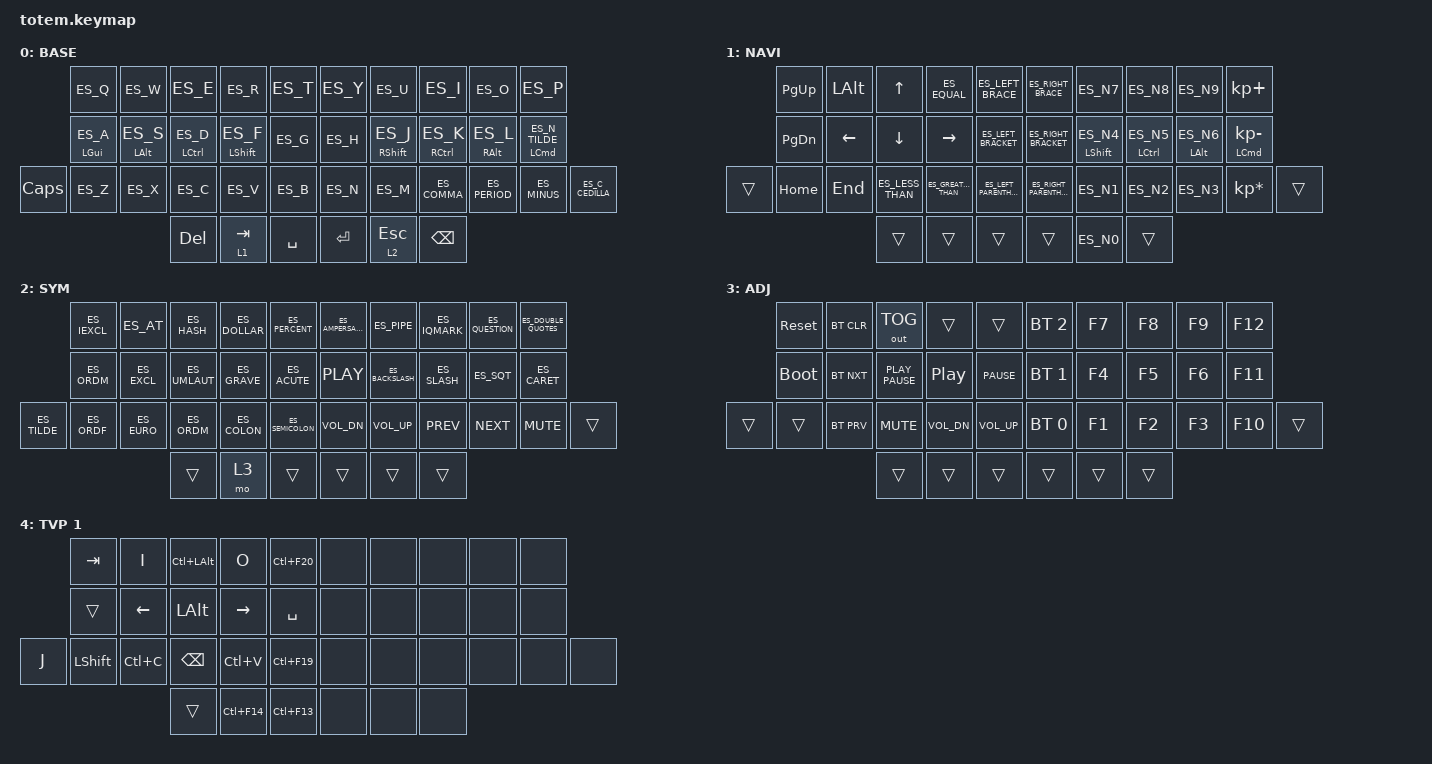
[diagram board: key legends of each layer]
//
//                                                        ▀▀▀▀▀     ▀▀▀▀▀          ▀▀█▀▀
//                                                        ▄▀▀▀▄  ▄  ▄▀▀▀▄  ▄  ▄▀▀▀▄  █  ▄▀▀▀▄
//                                                        █   █  █  █   █  █  █   █  █  █   █
//                                                         ▀▀▀   █   ▀▀▀   █   ▀▀▀   ▀   ▀▀▀
//                                                               █      ▄▄▄█▄▄▄    █   █  
//                                                               ▀      █  █  █     █▄█
//                                                             ▀▀▀▀▀    █  █  █      ▀
//                                                                      ▀  ▀  ▀
//
// ▄▄▄▄▄▄▄▄▄▄▄▄▄▄▄▄▄▄▄▄▄▄▄▄▄▄▄▄▄▄▄▄▄▄▄▄▄▄▄▄▄▄▄▄▄▄▄▄▄▄▄▄▄▄▄▄▄▄▄▄▄▄▄▄▄▄▄▄▄▄▄▄▄▄▄▄▄▄▄▄▄▄▄▄▄▄▄▄▄▄▄▄▄▄▄▄▄▄▄▄▄▄▄▄▄▄▄▄▄▄▄▄▄▄▄▄▄▄▄▄▄▄▄▄▄▄▄▄▄▄▄▄▄▄▄▄▄▄▄▄▄▄▄▄▄▄▄▄▄

#include "keys_es.h"
#include <behaviors.dtsi>
#include <dt-bindings/zmk/bt.h>
#include <dt-bindings/zmk/keys.h>
#include <dt-bindings/zmk/outputs.h>

#define BASE 0
#define NAV  1
#define SYM  2
#define ADJ  3
#define TVP1 4
#define TVP2 5

&mt {
    quick-tap-ms = <100>;
    global-quick-tap;
    flavor = "tap-preferred";
    tapping-term-ms = <170>;
};

/ {
    combos {
        compatible = "zmk,combos";

        combo_esc {
            timeout-ms = <50>;
            key-positions = <0 1>;
            bindings = <&kp ESC>;
        };

        workspace_2 {
            bindings = <&change_workspace>;
            key-positions = <3 4>;
        };
    };

    macros {
        change_workspace: change_workspace {
            compatible = "zmk,behavior-macro";
            #binding-cells = <0>;
            bindings = <&macro_tap>, <&kp LEFT_GUI &kp KP_N2>;

            label = "CHANGE_WORKSPACE";
        };
    };

    keymap {
        compatible = "zmk,keymap";

        // ▄▄▄▄▄▄▄▄▄▄▄▄▄▄▄▄▄▄▄▄▄▄▄▄▄▄▄▄▄▄▄▄▄▄▄▄▄▄▄▄▄▄▄▄▄▄▄▄▄▄▄▄▄▄▄▄▄▄▄▄▄▄▄▄▄▄▄▄▄▄▄▄▄▄▄▄▄▄▄▄▄▄▄▄▄▄▄▄▄▄▄▄▄▄▄▄▄▄▄▄▄▄▄▄▄▄▄▄▄▄▄▄▄▄▄▄▄▄▄▄▄▄▄▄▄▄▄▄▄▄▄▄▄▄▄▄▄▄▄▄▄▄▄▄▄▄▄▄▄

        base_layer {
            // ┏━━━━━━━━━━━━━━━━━━━━━━━━━━━━━━━━━━━━━━━┓

            label = "BASE";

            // ┗━━━━━━━━━━━━━━━━━━━━━━━━━━━━━━━━━━━━━━━┛
            //             ┏━━━━━━━━━━━┳━━━━━━━━━━━┳━━━━━━━━━━━┳━━━━━━━━━━━┳━━━━━━━━━━━┓   ┏━━━━━━━━━━━┳━━━━━━━━━━━┳━━━━━━━━━━━┳━━━━━━━━━━━┳━━━━━━━━━━━┓
            //             ┃     Q     ┃     W     ┃     F     ┃     P     ┃     G     ┃   ┃     J     ┃     L     ┃     U     ┃     Y     ┃     ;     ┃
            //             ┣━━━━━━━━━━━╋━━━━━━━━━━━╋━━━━━━━━━━━╋━━━━━━━━━━━╋━━━━━━━━━━━┫   ┣━━━━━━━━━━━╋━━━━━━━━━━━╋━━━━━━━━━━━╋━━━━━━━━━━━╋━━━━━━━━━━━┫
            //             ┃     A     ┃     R     ┃     S     ┃     T     ┃     D     ┃   ┃     H     ┃     N     ┃     E     ┃     I     ┃     O     ┃
            // ┏━━━━━━━━━━━╋━━━━━━━━━━━╋━━━━━━━━━━━╋━━━━━━━━━━━╋━━━━━━━━━━━╋━━━━━━━━━━━┫   ┣━━━━━━━━━━━╋━━━━━━━━━━━╋━━━━━━━━━━━╋━━━━━━━━━━━╋━━━━━━━━━━━╋━━━━━━━━━━━┓
            // ┃     Q     ┃     Z     ┃     X     ┃     C     ┃     V     ┃     B     ┃   ┃     K     ┃     M     ┃     ,     ┃     .     ┃     /     ┃     \     ┃
            // ┗━━━━━━━━━━━┻━━━━━━━━━━━┻━━━━━━━━━━━╋━━━━━━━━━━━╋━━━━━━━━━━━╋━━━━━━━━━━━┫   ┣━━━━━━━━━━━╋━━━━━━━━━━━╋━━━━━━━━━━━╋━━━━━━━━━━━┻━━━━━━━━━━━┻━━━━━━━━━━━┛
            //                                     ┃    DEL    ┃    TAB    ┃    SPC    ┃   ┃   ENTER   ┃           ┃   BSPC    ┃
            //                                     ┗━━━━━━━━━━━┻━━━━━━━━━━━┻━━━━━━━━━━━┛   ┗━━━━━━━━━━━┻━━━━━━━━━━━┻━━━━━━━━━━━┛

            bindings = <
              &kp ES_Q       &kp ES_W       &kp ES_E        &kp ES_R        &kp ES_T     &kp ES_Y  &kp ES_U        &kp ES_I        &kp ES_O       &kp ES_P
              &mt LGUI ES_A  &mt LALT ES_S  &mt LCTRL ES_D  &mt LSHFT ES_F  &kp ES_G     &kp ES_H  &mt RSHFT ES_J  &mt RCTRL ES_K  &mt RALT ES_L  &mt LCMD ES_N_TILDE
&kp CAPSLOCK  &kp ES_Z       &kp ES_X       &kp ES_C        &kp ES_V        &kp ES_B     &kp ES_N  &kp ES_M        &kp ES_COMMA    &kp ES_PERIOD  &kp ES_MINUS         &kp ES_C_CEDILLA
                                            &kp DEL         &lt 1 TAB       &kp SPACE    &kp RET   &lt 2 ESC       &kp BSPC
            >;
        };

        // ▄▄▄▄▄▄▄▄▄▄▄▄▄▄▄▄▄▄▄▄▄▄▄▄▄▄▄▄▄▄▄▄▄▄▄▄▄▄▄▄▄▄▄▄▄▄▄▄▄▄▄▄▄▄▄▄▄▄▄▄▄▄▄▄▄▄▄▄▄▄▄▄▄▄▄▄▄▄▄▄▄▄▄▄▄▄▄▄▄▄▄▄▄▄▄▄▄▄▄▄▄▄▄▄▄▄▄▄▄▄▄▄▄▄▄▄▄▄▄▄▄▄▄▄▄▄▄▄▄▄▄▄▄▄▄▄▄▄▄▄▄▄▄▄▄▄▄▄▄

        nav_layer {
            // ┏━━━━━━━━━━━━━━━━━━━━━━━━━━━━━━━━━━━━━━━┓

            label = "NAVI";

            // ┗━━━━━━━━━━━━━━━━━━━━━━━━━━━━━━━━━━━━━━━┛
            //             ┏━━━━━━━━━━━┳━━━━━━━━━━━┳━━━━━━━━━━━┳━━━━━━━━━━━┳━━━━━━━━━━━┓   ┏━━━━━━━━━━━┳━━━━━━━━━━━┳━━━━━━━━━━━┳━━━━━━━━━━━┳━━━━━━━━━━━┓
            //             ┃           ┃           ┃     UP    ┃           ┃     {     ┃   ┃     }     ┃     7     ┃     8     ┃     9     ┃     +     ┃
            //             ┣━━━━━━━━━━━╋━━━━━━━━━━━╋━━━━━━━━━━━╋━━━━━━━━━━━╋━━━━━━━━━━━┫   ┣━━━━━━━━━━━╋━━━━━━━━━━━╋━━━━━━━━━━━╋━━━━━━━━━━━╋━━━━━━━━━━━┫
            //             ┃   SHIFT   ┃   LEFT    ┃    DOWN   ┃   RIGHT   ┃     [     ┃   ┃     ]     ┃     4     ┃     5     ┃     6     ┃     -     ┃
            // ┏━━━━━━━━━━━╋━━━━━━━━━━━╋━━━━━━━━━━━╋━━━━━━━━━━━╋━━━━━━━━━━━╋━━━━━━━━━━━┫   ┣━━━━━━━━━━━╋━━━━━━━━━━━╋━━━━━━━━━━━╋━━━━━━━━━━━╋━━━━━━━━━━━╋━━━━━━━━━━━┓
            // ┃           ┃           ┃   P UP    ┃  C LOCK   ┃  P DOWN   ┃     (     ┃   ┃     )     ┃     1     ┃     2     ┃     3     ┃     *     ┃           ┃
            // ┗━━━━━━━━━━━┻━━━━━━━━━━━┻━━━━━━━━━━━╋━━━━━━━━━━━╋━━━━━━━━━━━╋━━━━━━━━━━━┫   ┣━━━━━━━━━━━╋━━━━━━━━━━━╋━━━━━━━━━━━╋━━━━━━━━━━━┻━━━━━━━━━━━┻━━━━━━━━━━━┛
            //                                     ┃           ┃    TAB    ┃    SPC    ┃   ┃    DEL    ┃     0     ┃           ┃
            //                                     ┗━━━━━━━━━━━┻━━━━━━━━━━━┻━━━━━━━━━━━┛   ┗━━━━━━━━━━━┻━━━━━━━━━━━┻━━━━━━━━━━━┛

            bindings = <
        &kp PG_UP  &kp LALT  &kp UP            &kp ES_EQUAL         &kp ES_LEFT_BRACE          &kp ES_RIGHT_BRACE        &kp ES_N7        &kp ES_N8        &kp ES_N9       &kp KP_PLUS
        &kp PG_DN  &kp LEFT  &kp DOWN          &kp RIGHT            &kp ES_LEFT_BRACKET        &kp ES_RIGHT_BRACKET      &mt LSHFT ES_N4  &mt LCTRL ES_N5  &mt LALT ES_N6  &mt LCMD KP_MINUS
&trans  &kp HOME   &kp END   &kp ES_LESS_THAN  &kp ES_GREATER_THAN  &kp ES_LEFT_PARENTHESIS    &kp ES_RIGHT_PARENTHESIS  &kp ES_N1        &kp ES_N2        &kp ES_N3       &kp KP_MULTIPLY    &trans
                             &trans            &trans               &trans                     &trans                    &kp ES_N0        &trans
            >;
        };

        // ▄▄▄▄▄▄▄▄▄▄▄▄▄▄▄▄▄▄▄▄▄▄▄▄▄▄▄▄▄▄▄▄▄▄▄▄▄▄▄▄▄▄▄▄▄▄▄▄▄▄▄▄▄▄▄▄▄▄▄▄▄▄▄▄▄▄▄▄▄▄▄▄▄▄▄▄▄▄▄▄▄▄▄▄▄▄▄▄▄▄▄▄▄▄▄▄▄▄▄▄▄▄▄▄▄▄▄▄▄▄▄▄▄▄▄▄▄▄▄▄▄▄▄▄▄▄▄▄▄▄▄▄▄▄▄▄▄▄▄▄▄▄▄▄▄▄▄▄▄

        sim_layer {
            // ┏━━━━━━━━━━━━━━━━━━━━━━━━━━━━━━━━━━━━━━━┓

            label = "SYM";

            // ┗━━━━━━━━━━━━━━━━━━━━━━━━━━━━━━━━━━━━━━━┛
            //             ┏━━━━━━━━━━━┳━━━━━━━━━━━┳━━━━━━━━━━━┳━━━━━━━━━━━┳━━━━━━━━━━━┓   ┏━━━━━━━━━━━┳━━━━━━━━━━━┳━━━━━━━━━━━┳━━━━━━━━━━━┳━━━━━━━━━━━┓
            //             ┃     !     ┃     @     ┃     #     ┃     $     ┃     %     ┃   ┃     ˆ     ┃     &     ┃     Ü     ┃     '     ┃     "     ┃
            //             ┣━━━━━━━━━━━╋━━━━━━━━━━━╋━━━━━━━━━━━╋━━━━━━━━━━━╋━━━━━━━━━━━┫   ┣━━━━━━━━━━━╋━━━━━━━━━━━╋━━━━━━━━━━━╋━━━━━━━━━━━╋━━━━━━━━━━━┫
            //             ┃     Ä     ┃           ┃    SZ     ┃           ┃           ┃   ┃   MUTE    ┃   YEN     ┃   EURO    ┃  POUND    ┃     Ö     ┃
            // ┏━━━━━━━━━━━╋━━━━━━━━━━━╋━━━━━━━━━━━╋━━━━━━━━━━━╋━━━━━━━━━━━╋━━━━━━━━━━━┫   ┣━━━━━━━━━━━╋━━━━━━━━━━━╋━━━━━━━━━━━╋━━━━━━━━━━━╋━━━━━━━━━━━╋━━━━━━━━━━━┓
            // ┃           ┃  EMAIL1   ┃  EMAIL2   ┃           ┃           ┃           ┃   ┃   VOL-    ┃   VOL+    ┃   LAST    ┃   NEXT    ┃     \     ┃           ┃
            // ┗━━━━━━━━━━━┻━━━━━━━━━━━┻━━━━━━━━━━━╋━━━━━━━━━━━╋━━━━━━━━━━━╋━━━━━━━━━━━┫   ┣━━━━━━━━━━━╋━━━━━━━━━━━╋━━━━━━━━━━━╋━━━━━━━━━━━┻━━━━━━━━━━━┻━━━━━━━━━━━┛
            //                                     ┃           ┃    GIF    ┃    ADJ    ┃   ┃           ┃           ┃           ┃
            //                                     ┗━━━━━━━━━━━┻━━━━━━━━━━━┻━━━━━━━━━━━┛   ┗━━━━━━━━━━━┻━━━━━━━━━━━┻━━━━━━━━━━━┛

            bindings = <
              &kp ES_IEXCL  &kp ES_AT    &kp ES_HASH    &kp ES_DOLLAR  &kp ES_PERCENT      &kp ES_AMPERSAND  &kp ES_PIPE       &kp ES_IQMARK  &kp ES_QUESTION  &kp ES_DOUBLE_QUOTES
              &kp ES_ORDM   &kp ES_EXCL  &kp ES_UMLAUT  &kp ES_GRAVE   &kp ES_ACUTE        &kp C_PLAY        &kp ES_BACKSLASH  &kp ES_SLASH   &kp ES_SQT       &kp ES_CARET
&kp ES_TILDE  &kp ES_ORDF   &kp ES_EURO  &kp ES_ORDM    &kp ES_COLON   &kp ES_SEMICOLON    &kp C_VOL_DN      &kp C_VOL_UP      &kp C_PREV     &kp C_NEXT       &kp C_MUTE            &trans
                                         &trans         &mo 3          &trans              &trans            &trans            &trans
            >;
        };

        // ▄▄▄▄▄▄▄▄▄▄▄▄▄▄▄▄▄▄▄▄▄▄▄▄▄▄▄▄▄▄▄▄▄▄▄▄▄▄▄▄▄▄▄▄▄▄▄▄▄▄▄▄▄▄▄▄▄▄▄▄▄▄▄▄▄▄▄▄▄▄▄▄▄▄▄▄▄▄▄▄▄▄▄▄▄▄▄▄▄▄▄▄▄▄▄▄▄▄▄▄▄▄▄▄▄▄▄▄▄▄▄▄▄▄▄▄▄▄▄▄▄▄▄▄▄▄▄▄▄▄▄▄▄▄▄▄▄▄▄▄▄▄▄▄▄▄▄▄▄

        adjust_layer {
            // ┏━━━━━━━━━━━━━━━━━━━━━━━━━━━━━━━━━━━━━━━┓

            label = "ADJ";

            // ┗━━━━━━━━━━━━━━━━━━━━━━━━━━━━━━━━━━━━━━━┛
            //             ┏━━━━━━━━━━━┳━━━━━━━━━━━┳━━━━━━━━━━━┳━━━━━━━━━━━┳━━━━━━━━━━━┓   ┏━━━━━━━━━━━┳━━━━━━━━━━━┳━━━━━━━━━━━┳━━━━━━━━━━━┳━━━━━━━━━━━┓
            //             ┃   RESET   ┃ BT CLEAR  ┃  OUT TOG  ┃           ┃           ┃   ┃           ┃    F7     ┃    F8     ┃    F9     ┃    F12    ┃
            //             ┣━━━━━━━━━━━╋━━━━━━━━━━━╋━━━━━━━━━━━╋━━━━━━━━━━━╋━━━━━━━━━━━┫   ┣━━━━━━━━━━━╋━━━━━━━━━━━╋━━━━━━━━━━━╋━━━━━━━━━━━╋━━━━━━━━━━━┫
            //             ┃ BOOTLOAD  ┃ BT NEXT   ┃           ┃           ┃           ┃   ┃           ┃    F4     ┃    F5     ┃    F6     ┃    F11    ┃
            // ┏━━━━━━━━━━━╋━━━━━━━━━━━╋━━━━━━━━━━━╋━━━━━━━━━━━╋━━━━━━━━━━━╋━━━━━━━━━━━┫   ┣━━━━━━━━━━━╋━━━━━━━━━━━╋━━━━━━━━━━━╋━━━━━━━━━━━╋━━━━━━━━━━━╋━━━━━━━━━━━┓
            // ┃           ┃           ┃ BT PREV   ┃           ┃           ┃           ┃   ┃           ┃    F1     ┃    F2     ┃    F3     ┃    F10    ┃           ┃
            // ┗━━━━━━━━━━━┻━━━━━━━━━━━┻━━━━━━━━━━━╋━━━━━━━━━━━╋━━━━━━━━━━━╋━━━━━━━━━━━┫   ┣━━━━━━━━━━━╋━━━━━━━━━━━╋━━━━━━━━━━━╋━━━━━━━━━━━┻━━━━━━━━━━━┻━━━━━━━━━━━┛
            //                                     ┃           ┃           ┃           ┃   ┃           ┃           ┃           ┃
            //                                     ┗━━━━━━━━━━━┻━━━━━━━━━━━┻━━━━━━━━━━━┛   ┗━━━━━━━━━━━┻━━━━━━━━━━━┻━━━━━━━━━━━┛

            bindings = <
        &sys_reset   &bt BT_CLR  &out OUT_TOG      &trans            &trans          &bt BT_SEL 2  &kp F7  &kp F8  &kp F9  &kp F12
        &bootloader  &bt BT_NXT  &kp K_PLAY_PAUSE  &kp C_PLAY_PAUSE  &kp C_PAUSE     &bt BT_SEL 1  &kp F4  &kp F5  &kp F6  &kp F11
&trans  &trans       &bt BT_PRV  &kp C_MUTE        &kp C_VOL_DN      &kp C_VOL_UP    &bt BT_SEL 0  &kp F1  &kp F2  &kp F3  &kp F10  &trans
                                 &trans            &trans            &trans          &trans        &trans  &trans
            >;
        };

        // ▄▄▄▄▄▄▄▄▄▄▄▄▄▄▄▄▄▄▄▄▄▄▄▄▄▄▄▄▄▄▄▄▄▄▄▄▄▄▄▄▄▄▄▄▄▄▄▄▄▄▄▄▄▄▄▄▄▄▄▄▄▄▄▄▄▄▄▄▄▄▄▄▄▄▄▄▄▄▄▄▄▄▄▄▄▄▄▄▄▄▄▄▄▄▄▄▄▄▄▄▄▄▄▄▄▄▄▄▄▄▄▄▄▄▄▄▄▄▄▄▄▄▄▄▄▄▄▄▄▄▄▄▄▄▄▄▄▄▄▄▄▄▄▄▄▄▄▄▄

        tvp1_layer {
            // ┏━━━━━━━━━━━━━━━━━━━━━━━━━━━━━━━━━━━━━━━┓

            label = "TVP 1";

            // ┗━━━━━━━━━━━━━━━━━━━━━━━━━━━━━━━━━━━━━━━┛
            //             ┏━━━━━━━━━━━┳━━━━━━━━━━━┳━━━━━━━━━━━┳━━━━━━━━━━━┳━━━━━━━━━━━┓   ┏━━━━━━━━━━━┳━━━━━━━━━━━┳━━━━━━━━━━━┳━━━━━━━━━━━┳━━━━━━━━━━━┓
            //             ┃ NEXT FILE ┃ MARK IN   ┃ ROTATE    ┃ MARK OUT  ┃ SHOW SNAP ┃   ┃           ┃           ┃           ┃           ┃           ┃
            //             ┣━━━━━━━━━━━╋━━━━━━━━━━━╋━━━━━━━━━━━╋━━━━━━━━━━━╋━━━━━━━━━━━┫   ┣━━━━━━━━━━━╋━━━━━━━━━━━╋━━━━━━━━━━━╋━━━━━━━━━━━╋━━━━━━━━━━━┫
            //             ┃ TVP II    ┃ LEFT      ┃ PAN       ┃ RIGHT     ┃ PLAY/FLIP ┃   ┃           ┃           ┃           ┃           ┃           ┃
            // ┏━━━━━━━━━━━╋━━━━━━━━━━━╋━━━━━━━━━━━╋━━━━━━━━━━━╋━━━━━━━━━━━╋━━━━━━━━━━━┫   ┣━━━━━━━━━━━╋━━━━━━━━━━━╋━━━━━━━━━━━╋━━━━━━━━━━━╋━━━━━━━━━━━╋━━━━━━━━━━━┓
            // ┃ FULLSCR   ┃ SHIFT     ┃ COPY      ┃ DELETE    ┃ PASTE     ┃ IMG MARK  ┃   ┃           ┃           ┃           ┃           ┃           ┃           ┃
            // ┗━━━━━━━━━━━┻━━━━━━━━━━━┻━━━━━━━━━━━╋━━━━━━━━━━━╋━━━━━━━━━━━╋━━━━━━━━━━━┫   ┣━━━━━━━━━━━╋━━━━━━━━━━━╋━━━━━━━━━━━╋━━━━━━━━━━━┻━━━━━━━━━━━┻━━━━━━━━━━━┛
            //                                     ┃           ┃ UNDO/SAVE ┃  SEL/MOV  ┃   ┃           ┃           ┃           ┃
            //                                     ┗━━━━━━━━━━━┻━━━━━━━━━━━┻━━━━━━━━━━━┛   ┗━━━━━━━━━━━┻━━━━━━━━━━━┻━━━━━━━━━━━┛

            bindings = <
       &kp TAB    &kp I      &kp LC(LALT)  &kp O        &kp LC(F20)    &none  &none  &none  &none  &none
       &trans     &kp LEFT   &kp LALT      &kp RIGHT    &kp SPACE      &none  &none  &none  &none  &none
&kp J  &kp LSHFT  &kp LC(C)  &kp BSPC      &kp LC(V)    &kp LC(F19)    &none  &none  &none  &none  &none  &none
                             &trans        &kp LC(F14)  &kp LC(F13)    &none  &none  &none
            >;
        };

        // ▄▄▄▄▄▄▄▄▄▄▄▄▄▄▄▄▄▄▄▄▄▄▄▄▄▄▄▄▄▄▄▄▄▄▄▄▄▄▄▄▄▄▄▄▄▄▄▄▄▄▄▄▄▄▄▄▄▄▄▄▄▄▄▄▄▄▄▄▄▄▄▄▄▄▄▄▄▄▄▄▄▄▄▄▄▄▄▄▄▄▄▄▄▄▄▄▄▄▄▄▄▄▄▄▄▄▄▄▄▄▄▄▄▄▄▄▄▄▄▄▄▄▄▄▄▄▄▄▄▄▄▄▄▄▄▄▄▄▄▄▄▄▄▄▄▄▄▄▄
    };
};
